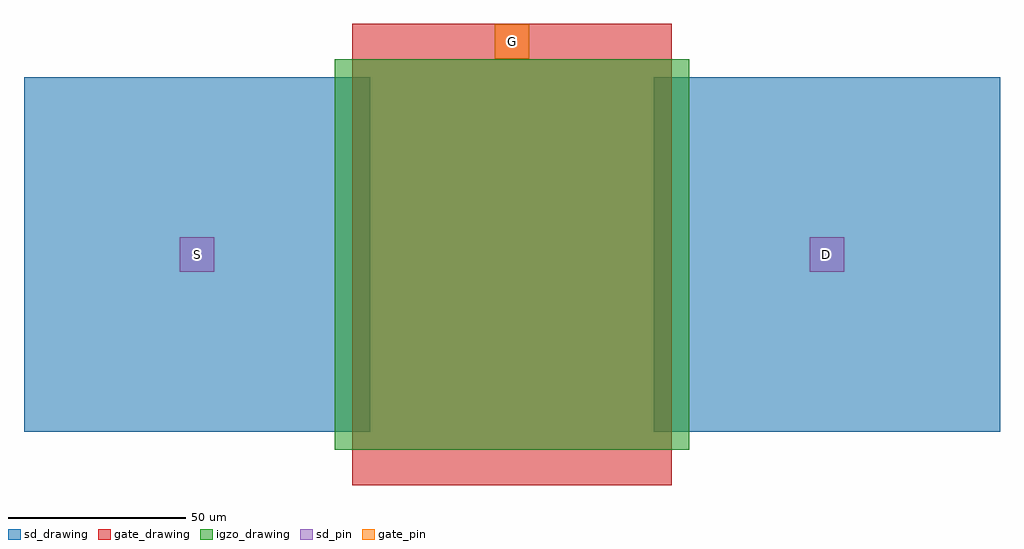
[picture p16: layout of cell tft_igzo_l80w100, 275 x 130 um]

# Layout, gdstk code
import gdstk
lib = gdstk.Library(unit=1e-6, precision=1e-09)
def R(c, l, rs):  # rectangles x0, y0, x1, y1
    for r in rs: c.add(gdstk.rectangle(r[:2], r[2:], *l))
gate_drawing = (2, 0)
gate_pin = (2, 10)
igzo_drawing = (4, 0)
sd_drawing = (6, 0)
sd_pin = (6, 10)

tft_igzo_l80w100 = lib.new_cell('tft_igzo_l80w100')
R(tft_igzo_l80w100, gate_drawing, [(-45,-65,45,65)])
R(tft_igzo_l80w100, gate_pin, [(-4.88,55.12,4.88,64.88)])
R(tft_igzo_l80w100, igzo_drawing, [(-50,-55,50,55)])
R(tft_igzo_l80w100, sd_drawing, [(-137.5,-50,-40,50), (40,-50,137.5,50)])
R(tft_igzo_l80w100, sd_pin, [(-93.63,-4.88,-83.87,4.88), (83.87,-4.88,93.63,4.88)])
tft_igzo_l80w100.add(gdstk.Label('S', (-88.75,0), layer=6, texttype=10))
tft_igzo_l80w100.add(gdstk.Label('D', (88.75,0), layer=6, texttype=10))
tft_igzo_l80w100.add(gdstk.Label('G', (0,60), layer=2, texttype=10))

lib.write_gds('tft_igzo_l80w100.gds')
